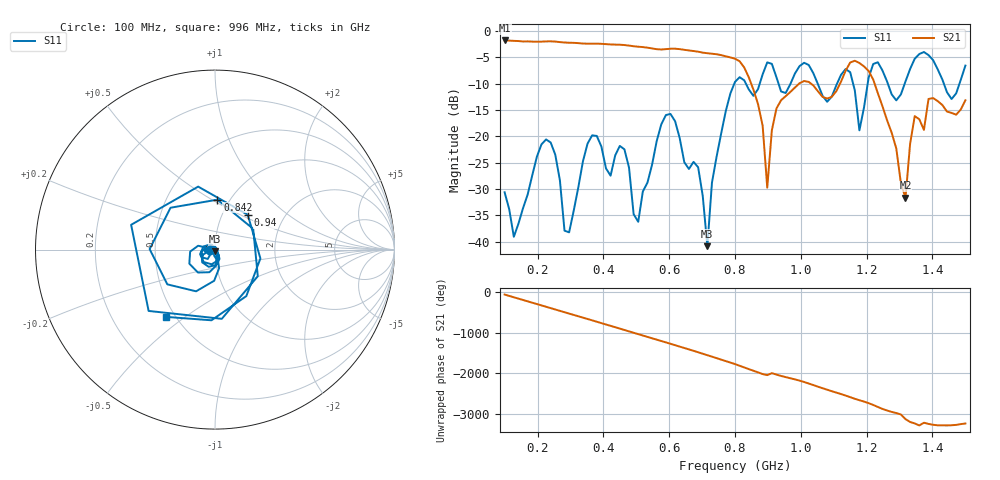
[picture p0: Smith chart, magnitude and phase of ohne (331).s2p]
! NanoVNA-App
! Date: 2025-09-25 14:23:22
! Start: 100MHz Stop: 1,5GHz Points: 101
! S-Parameter data: F S11 S21 S12 S22
# Hz S RI R 50
!  Frequency  S11_Real  S11_Imag  S21_Real  S21_Imag  S12_Real  S12_Imag  S22_Real  S22_Imag
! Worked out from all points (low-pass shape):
!   101 points, 100 MHz to 1.5 GHz, reference 50 ohm
!   highest |S21| = -1.79 dB at 100 MHz (marker M1); lowest = -31.7 dB at 1.318 GHz (marker M2)
!   |S21| within 3 dB of the highest: start of sweep to 771.4 MHz
!   lowest |S11| = -40.9 dB at 716 MHz (marker M3), VSWR 1.02, Z = 49.9 - j0.891 ohm
!   |S11| at or under -10 dB: start of sweep to 797.9 MHz; 833.1 MHz to 875.2 MHz (42.04 MHz wide, 4.92 % of centre); 1.051 GHz to 1.11 GHz (58.8 MHz wide, 5.44 % of centre) (the widest 3 of 7)
!   S12 and S22 are empty: the file has one direction only
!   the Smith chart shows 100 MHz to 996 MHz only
!   S11 on the Smith chart (normalised r, x): 100 MHz: 0.94, -0.01; 842 MHz: 0.88, +0.53; 940 MHz: 1.32, +0.55; 996 MHz: 0.45, -0.43
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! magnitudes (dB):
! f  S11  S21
! 100 MHz  -30.6  -1.8
! 128 MHz  -39.1  -1.9
! 226 MHz  -20.6  -2.0
! 296 MHz  -38.3  -2.2
! 338 MHz  -24.8  -2.4
! 464 MHz  -22.5  -2.7
! 506 MHz  -36.2  -3.0
! 576 MHz  -17.7  -3.5
! 688 MHz  -25.9  -3.9
! 716 MHz  -40.9  -4.2
! 800 MHz  -9.7  -5.3
! 842 MHz  -11.1  -8.8
! 898 MHz  -6.0  -29.8
! 940 MHz  -11.5  -13.1
! 996 MHz  -6.7  -9.9
! 1.038 GHz  -8.0  -10.3
! 1.178 GHz  -18.9  -6.1
! 1.22 GHz  -6.3  -9.2
! 1.276 GHz  -12.0  -19.3
! 1.318 GHz  -9.6  -31.7
! 1.346 GHz  -5.3  -16.2
! 1.5 GHz  -6.6  -13.2
